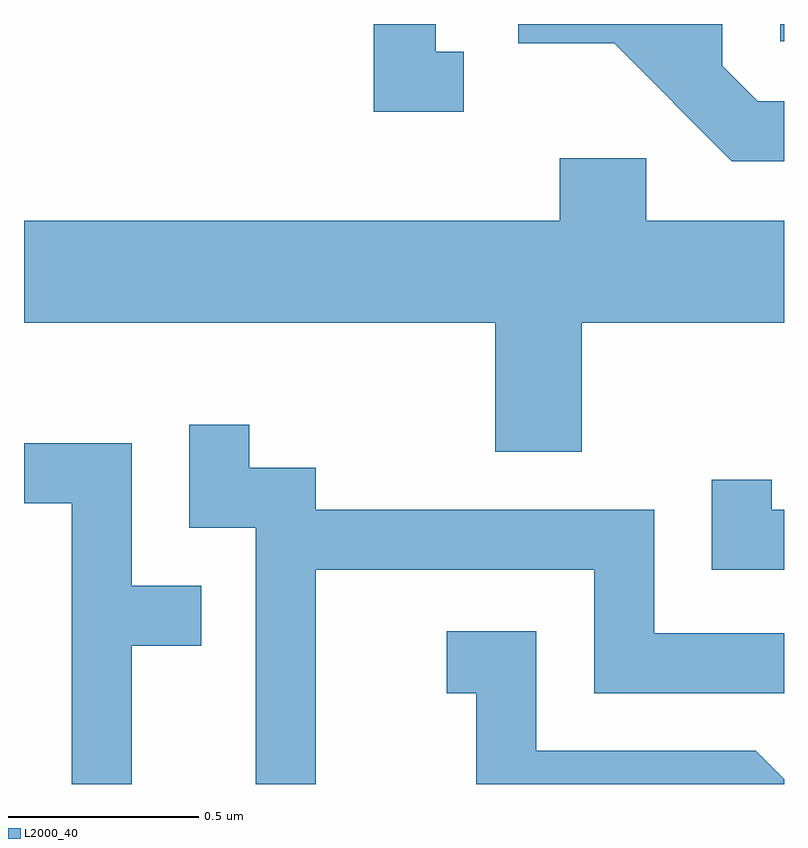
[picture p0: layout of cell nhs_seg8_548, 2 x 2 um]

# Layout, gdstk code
import gdstk
lib = gdstk.Library(unit=1e-6, precision=1e-09)
def R(c, l, rs):  # rectangles x0, y0, x1, y1
    for r in rs: c.add(gdstk.rectangle(r[:2], r[2:], *l))
def P(c, l, *ps):  # polygons
    for p in ps: c.add(gdstk.Polygon(p, *l))
L2000_40 = (2000, 40)

nhs_seg8_548 = lib.new_cell('nhs_seg8_548')
R(nhs_seg8_548, L2000_40, [(191.601,1808.296,191.611,1808.342)])
P(nhs_seg8_548, L2000_40, [(190.768,1808.269),(190.694,1808.269),(190.694,1808.342),(190.531,1808.342),(190.531,1808.111),(190.768,1808.111)],
  [(191.611,1808.139),(191.542,1808.139),(191.449,1808.232),(191.449,1808.342),(190.911,1808.342),(190.911,1808.291),(191.164,1808.291),(191.474,1807.981),(191.611,1807.981)],
  [(191.079,1807.556),(191.611,1807.556),(191.611,1807.824),(191.249,1807.824),(191.249,1807.989),(191.021,1807.989),(191.021,1807.824),(189.611,1807.824),(189.611,1807.556),(190.851,1807.556),(190.851,1807.216),(191.079,1807.216)],
  [(190.379,1806.906),(191.111,1806.906),(191.111,1806.581),(191.611,1806.581),(191.611,1806.739),(191.269,1806.739),(191.269,1807.064),(190.379,1807.064),(190.379,1807.174),(190.204,1807.174),(190.204,1807.288),(190.046,1807.288),(190.046,1807.016),(190.221,1807.016),(190.221,1806.342),(190.379,1806.342)],
  [(189.894,1806.706),(190.078,1806.706),(190.078,1806.864),(189.894,1806.864),(189.894,1807.239),(189.611,1807.239),(189.611,1807.081),(189.736,1807.081),(189.736,1806.342),(189.894,1806.342)],
  [(191.611,1807.064),(191.579,1807.064),(191.579,1807.143),(191.421,1807.143),(191.421,1806.906),(191.611,1806.906)],
  [(191.611,1806.355),(191.537,1806.429),(190.959,1806.429),(190.959,1806.744),(190.723,1806.744),(190.723,1806.581),(190.801,1806.581),(190.801,1806.342),(191.611,1806.342)])

lib.write_gds('nhs_seg8_548.gds')
